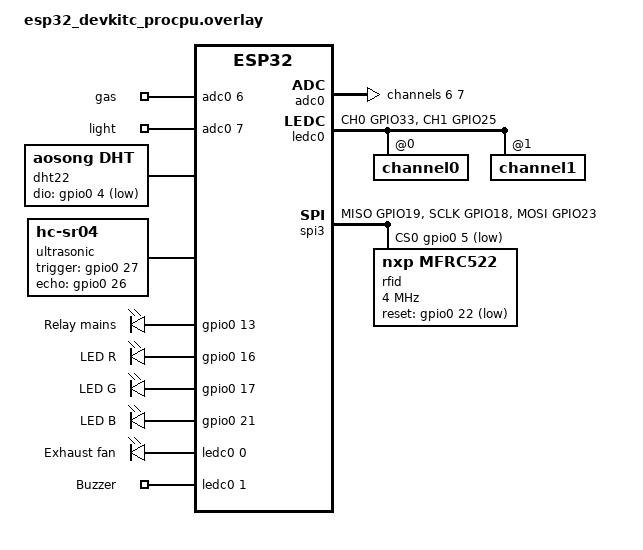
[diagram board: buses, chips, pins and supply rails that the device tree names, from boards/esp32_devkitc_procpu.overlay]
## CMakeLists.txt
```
# SPDX-License-Identifier: Apache-2.0
cmake_minimum_required(VERSION 3.20.0)

find_package(Zephyr REQUIRED HINTS $ENV{ZEPHYR_BASE})
project(fire_guard_rt)

zephyr_include_directories(src)

target_sources(app PRIVATE
  src/main.c
  src/app/channels.c
  src/app/config.c
  src/app/threads.c
  src/app/shell_cmds.c
  src/fusion/fusion.c
  src/fusion/fusion_thread.c
  src/sensors/sensor_adc.c
  src/sensors/sensor_dht.c
  src/sensors/sensor_ultrasonic.c
  src/sensors/sensor_rfid.c
  src/drivers/rc522.c
  src/actuators/actuators.c
  src/safety/fault_mgr.c
  src/safety/event_log.c
)

target_sources_ifdef(CONFIG_FG_PERSIST app PRIVATE
  src/app/storage.c
)

target_sources_ifdef(CONFIG_FG_RT_STATS app PRIVATE
  src/safety/rt_stats.c
)

target_sources_ifdef(CONFIG_FG_TRACE app PRIVATE
  src/safety/rt_trace.c
)

target_sources_ifdef(CONFIG_FG_BENCH app PRIVATE
  src/app/bench.c
)

target_sources_ifdef(CONFIG_FG_DIAG_STATS app PRIVATE
  src/app/diag.c
)

target_sources_ifdef(CONFIG_FG_COMM app PRIVATE
  src/comm/coreiot.c
)

# Wokwi loads build/flasher_args.json (same format as ESP-IDF). Zephyr on
# ESP32 uses simple boot: the application image itself sits at 0x1000 and
# is started by the ROM loader, so no second-stage bootloader is listed.
file(WRITE ${CMAKE_BINARY_DIR}/flasher_args.json
"{
  \"write_flash_args\": [\"--flash_mode\", \"dio\", \"--flash_size\", \"4MB\", \"--flash_freq\", \"40m\"],
  \"flash_settings\": {\"flash_mode\": \"dio\", \"flash_size\": \"4MB\", \"flash_freq\": \"40m\"},
  \"flash_files\": {\"0x1000\": \"zephyr/zephyr.bin\"},
  \"extra_esptool_args\": {\"after\": \"hard_reset\", \"before\": \"default_reset\", \"stub\": true, \"chip\": \"esp32\"}
}
")
```

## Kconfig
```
# FireGuard-RT application configuration

mainmenu "FireGuard-RT"

menu "FireGuard-RT"

config FG_SAMPLE_PERIOD_MS
	int "Default sample period (ms)"
	range 1000 2000
	default 1000

config FG_CALLIN_PERIOD_S
	int "Default call-in period in NORMAL state (s)"
	range 10 600
	default 60

config FG_WARMUP_S
	int "MQ-2 warm-up time (s)"
	default 60

config FG_CONFIRM_WINDOW_MS
	int "Multi-source confirmation window (ms)"
	default 4000

config FG_SENSOR_WDT_MS
	int "Task watchdog timeout for sensor threads (ms)"
	default 500

config FG_CORE_WDT_MS
	int "Task watchdog timeout for fusion/actuator threads (ms)"
	default 1000

config FG_FAULT_RESTART_MAX
	int "Max restart attempts for a hung sensor thread"
	default 3

config FG_LDR_INVERT
	bool "Invert LDR reading (higher voltage = darker)"
	help
	  Set when the LDR is on the high side of the divider.

config FG_BUZZER_ACTIVE
	bool "Buzzer has its own oscillator (active buzzer)"
	help
	  Drive the buzzer with a DC level instead of a 2.7 kHz tone.

config FG_COMMANDER_UIDS
	string "Commander card UIDs (comma separated hex, 4-byte)"
	default "DEADBEEF,11223344"

config FG_PERSIST
	bool "Keep configuration and event log in flash"
	default y
	select FLASH
	select FLASH_MAP
	select NVS
	select SETTINGS
	help
	  Uses the settings subsystem on NVS in the storage partition.

config FG_RT_STATS
	bool "Measure execution and response times of the safety threads"
	default y
	select THREAD_RUNTIME_STATS
	select SCHED_THREAD_USAGE
	help
	  Adds the "fg rt" and "fg rta" shell commands.

config FG_TRACE
	bool "Capture a scheduler timeline through the tracing user hooks"
	depends on TRACING_USER
	help
	  Adds "fg trace start|stop|dump". Enable CONFIG_TRACING and
	  CONFIG_TRACING_USER as well.

config FG_TRACE_EVENTS
	int "Trace buffer size (events)"
	depends on FG_TRACE
	default 2048

config FG_BENCH
	bool "Load generators and automated alarm benchmark"
	help
	  Adds "fg load cpu|net" and "fg bench".

config FG_DIAG_STATS
	bool "Thread usage and data flow diagnostics"
	select THREAD_RUNTIME_STATS
	select SCHED_THREAD_USAGE
	select THREAD_MONITOR

config FG_DIAG_PERIOD_MS
	int "Periodic diagnostics report period (ms), 0 = on demand only"
	depends on FG_DIAG_STATS
	default 0

config FG_COMM
	bool "Enable Wi-Fi + MQTT (CoreIoT) communication"
	help
	  Requires the hal_espressif blobs and a single-core (non-SMP) build.

if FG_COMM

config FG_WIFI_SSID
	string "Wi-Fi SSID"
	default "Wokwi-GUEST"

config FG_WIFI_PSK
	string "Wi-Fi password"
	default ""

config FG_COREIOT_HOST
	string "CoreIoT MQTT host"
	default "app.coreiot.io"

config FG_COREIOT_PORT
	int "CoreIoT MQTT port"
	default 1883

config FG_COREIOT_TOKEN
	string "CoreIoT device access token"
	default ""

endif # FG_COMM

endmenu

source "Kconfig.zephyr"
```

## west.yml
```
# West manifest for building FireGuard-RT standalone (used by CI).
# Inside an existing Zephyr v4.4.0 workspace this file is not needed.
manifest:
  remotes:
    - name: zephyrproject-rtos
      url-base: https://github.com/zephyrproject-rtos

  projects:
    - name: zephyr
      remote: zephyrproject-rtos
      revision: v4.4.0
      import:
        name-allowlist:
          - hal_espressif
          - hal_xtensa
          - mbedtls
          - tf-psa-crypto
          - hostap
          - cmsis_6

  self:
    path: fire_guard_rt
```

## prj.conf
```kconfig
# Kernel
CONFIG_MAIN_STACK_SIZE=2048
CONFIG_THREAD_NAME=y
CONFIG_THREAD_STACK_INFO=y
CONFIG_THREAD_MONITOR=y
CONFIG_HEAP_MEM_POOL_SIZE=8192
CONFIG_REBOOT=y
CONFIG_HWINFO=y

# Data channels
CONFIG_ZBUS=y
CONFIG_ZBUS_CHANNEL_NAME=y
CONFIG_ZBUS_OBSERVER_NAME=y

# Peripherals
CONFIG_GPIO=y
CONFIG_ADC=y
CONFIG_SPI=y
CONFIG_PWM=y
CONFIG_SENSOR=y
CONFIG_DHT=y
CONFIG_HC_SR04=y
CONFIG_LED=n

# Fault tolerance
CONFIG_WATCHDOG=y
CONFIG_TASK_WDT=y
CONFIG_TASK_WDT_CHANNELS=8
CONFIG_TASK_WDT_HW_FALLBACK=y
CONFIG_TASK_WDT_HW_FALLBACK_DELAY=200

# Diagnostics
CONFIG_LOG=y
CONFIG_LOG_MODE_DEFERRED=y
CONFIG_LOG_DEFAULT_LEVEL=3
CONFIG_SHELL=y
CONFIG_SHELL_STACK_SIZE=3072
# printk writes the same UART with poll_out; an interrupt-driven shell
# backend then loses its TX-done event and stops processing input
CONFIG_SHELL_BACKEND_SERIAL_API_POLLING=y
CONFIG_ASSERT=y
```

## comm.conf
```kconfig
# Kconfig fragment: Wi-Fi + MQTT (CoreIoT)
#   west build ... -- "-DEXTRA_CONF_FILE=comm.conf;secrets.conf"
# Requires: west blobs fetch hal_espressif ; single-core build (no SMP)

CONFIG_FG_COMM=y

# Networking
CONFIG_NETWORKING=y
CONFIG_NET_IPV4=y
CONFIG_NET_IPV6=n
CONFIG_NET_TCP=y
CONFIG_NET_DHCPV4=y
CONFIG_NET_SOCKETS=y
CONFIG_DNS_RESOLVER=y
CONFIG_NET_MGMT=y
CONFIG_NET_MGMT_EVENT=y
CONFIG_NET_MGMT_EVENT_QUEUE_SIZE=16
CONFIG_NET_PKT_RX_COUNT=16
CONFIG_NET_PKT_TX_COUNT=16
CONFIG_NET_BUF_RX_COUNT=32
CONFIG_NET_BUF_TX_COUNT=32
CONFIG_NET_MAX_CONTEXTS=6
CONFIG_NET_TX_STACK_SIZE=2048
CONFIG_NET_RX_STACK_SIZE=2048
CONFIG_WIFI=y
CONFIG_ENTROPY_GENERATOR=y

# Network stack threads must be preemptible by the safety chain (NFR-02)
CONFIG_NET_TC_THREAD_PREEMPTIVE=y
# Wi-Fi driver threads are created at "max priority" with FreeRTOS semantics;
# keep them below every safety thread (Zephyr: higher number = lower priority)
CONFIG_ESP32_WIFI_MAX_THREAD_PRIORITY=12

# MQTT
CONFIG_MQTT_LIB=y
CONFIG_MQTT_KEEPALIVE=60

# Wi-Fi driver, MQTT and DNS need about 55 KB of system heap
CONFIG_HEAP_MEM_POOL_SIZE=57344
```

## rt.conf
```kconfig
# Kconfig fragment for real-time measurements on hardware
#   west build -b esp32_devkitc/esp32/procpu -- "-DEXTRA_CONF_FILE=rt.conf"
# Combine with comm.conf;secrets.conf to measure under network load.

CONFIG_TRACING=y
CONFIG_TRACING_USER=y
CONFIG_FG_TRACE=y
CONFIG_FG_BENCH=y
CONFIG_FG_DIAG_STATS=y
```

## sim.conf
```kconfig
# Kconfig fragment for the Wokwi simulation build
#   west build -b esp32_devkitc/esp32/procpu -- "-DEXTRA_CONF_FILE=sim.conf"

# Wokwi photoresistor module: AO voltage rises when it gets darker
CONFIG_FG_LDR_INVERT=y

# Shorter MQ-2 warm-up so tests start quickly
CONFIG_FG_WARMUP_S=5

# Minimal logging maps LOG_* straight to printk and printk straight to the
# UART, so boot messages and fatal error dumps are printed even when the
# system halts before the log backends are initialised
CONFIG_LOG_MODE_MINIMAL=y
CONFIG_LOG_MODE_DEFERRED=n
CONFIG_LOG_PRINTK=n

# Detect thread stack overflows on context switch
CONFIG_STACK_SENTINEL=y

# Thread CPU usage and data flow report ("fg threads")
CONFIG_FG_DIAG_STATS=y

# Real-time analysis tools: timeline capture, load generators, benchmark
CONFIG_TRACING=y
CONFIG_TRACING_USER=y
CONFIG_FG_TRACE=y
CONFIG_FG_BENCH=y
```

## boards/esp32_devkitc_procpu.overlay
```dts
/*
 * Devicetree overlay for ESP32 NodeMCU (30 pin) / esp32_devkitc
 *
 *  GPIO34 ADC1_CH6  MQ-2 AO (through 5V->3.3V divider)
 *  GPIO35 ADC1_CH7  LDR divider
 *  GPIO4            DHT22 data
 *  GPIO27 / GPIO26  HC-SR04 TRIG / ECHO (ECHO through divider)
 *  GPIO18/19/23/5   RC522 SCK / MISO / MOSI / SDA(CS)   GPIO22 RC522 RST
 *  GPIO13           Relay IN
 *  GPIO33           Fan (MOSFET gate), LEDC channel 0
 *  GPIO25           Buzzer, LEDC channel 1
 *  GPIO16/17/21     LED RGB R / G / B
 */
#include <zephyr/dt-bindings/adc/adc.h>
#include <zephyr/dt-bindings/gpio/gpio.h>
#include <zephyr/dt-bindings/pwm/pwm.h>

/ {
	chosen {
		zephyr,settings-partition = &storage_partition;
	};

	zephyr,user {
		io-channels = <&adc0 6>, <&adc0 7>;
		io-channel-names = "gas", "light";
	};

	dht22: dht22 {
		compatible = "aosong,dht";
		status = "okay";
		/* The aosong,dht driver drives the line in active-low logic */
		dio-gpios = <&gpio0 4 (GPIO_ACTIVE_LOW | GPIO_PULL_UP)>;
		dht22;
	};

	ultrasonic: hc_sr04 {
		compatible = "hc-sr04";
		status = "okay";
		trigger-gpios = <&gpio0 27 GPIO_ACTIVE_HIGH>;
		echo-gpios = <&gpio0 26 GPIO_ACTIVE_HIGH>;
	};

	fg_outputs {
		compatible = "gpio-leds";
		/* Real relay modules are often active-low: change flag if needed */
		relay: relay { gpios = <&gpio0 13 GPIO_ACTIVE_HIGH>; label = "Relay mains"; };
		led_r: led_r { gpios = <&gpio0 16 GPIO_ACTIVE_HIGH>; label = "LED R"; };
		led_g: led_g { gpios = <&gpio0 17 GPIO_ACTIVE_HIGH>; label = "LED G"; };
		led_b: led_b { gpios = <&gpio0 21 GPIO_ACTIVE_HIGH>; label = "LED B"; };
	};

	/* LEDC: fan at 25 kHz (above audible range), buzzer tone at 2.7 kHz */
	fg_pwm_outputs {
		compatible = "pwm-leds";
		fan: fan { pwms = <&ledc0 0 PWM_USEC(40) PWM_POLARITY_NORMAL>; label = "Exhaust fan"; };
		buzzer: buzzer { pwms = <&ledc0 1 PWM_USEC(370) PWM_POLARITY_NORMAL>; label = "Buzzer"; };
	};

	aliases {
		fg-relay = &relay;
		fg-fan = &fan;
		fg-buzzer = &buzzer;
		fg-led-r = &led_r;
		fg-led-g = &led_g;
		fg-led-b = &led_b;
		fg-dht = &dht22;
		fg-ultrasonic = &ultrasonic;
		fg-rfid = &rfid;
	};
};

&adc0 {
	status = "okay";
	#address-cells = <1>;
	#size-cells = <0>;

	channel@6 {
		reg = <6>;
		zephyr,gain = "ADC_GAIN_1_4";
		zephyr,reference = "ADC_REF_INTERNAL";
		zephyr,acquisition-time = <ADC_ACQ_TIME_DEFAULT>;
		zephyr,resolution = <12>;
	};

	channel@7 {
		reg = <7>;
		zephyr,gain = "ADC_GAIN_1_4";
		zephyr,reference = "ADC_REF_INTERNAL";
		zephyr,acquisition-time = <ADC_ACQ_TIME_DEFAULT>;
		zephyr,resolution = <12>;
	};
};

/*
 * The board file describes an ESP32-WROVER-E, which reserves GPIO16/17 for
 * PSRAM. The target module (NodeMCU, ESP32-WROOM-32) has no PSRAM, so only
 * the SPI flash pins stay reserved and GPIO16/17 drive the RGB LED.
 */
&gpio0 {
	gpio-reserved-ranges = <6 6>;
};

&psram0 {
	status = "disabled";
};

/* GPIO21/22 are used by RGB-B and RC522-RST */
&i2c0 {
	status = "disabled";
};

/* HSPI default pins overlap GPIO13 (relay) */
&spi2 {
	status = "disabled";
};

/* VSPI without hardware CS: GPIO5 is driven as a GPIO chip-select */
&pinctrl {
	spim3_fg: spim3_fg {
		group1 {
			pinmux = <SPIM3_MISO_GPIO19>,
				 <SPIM3_SCLK_GPIO18>;
		};
		group2 {
			pinmux = <SPIM3_MOSI_GPIO23>;
			output-low;
		};
	};
};

&pinctrl {
	ledc0_fg: ledc0_fg {
		group1 {
			pinmux = <LEDC_CH0_GPIO33>,
				 <LEDC_CH1_GPIO25>;
			output-enable;
		};
	};
};

&ledc0 {
	pinctrl-0 = <&ledc0_fg>;
	pinctrl-names = "default";
	status = "okay";
	#address-cells = <1>;
	#size-cells = <0>;

	channel0@0 {
		reg = <0x0>;
		timer = <0>;
	};

	channel1@1 {
		reg = <0x1>;
		timer = <1>;
	};
};

&spi3 {
	pinctrl-0 = <&spim3_fg>;
	pinctrl-names = "default";
	cs-gpios = <&gpio0 5 GPIO_ACTIVE_LOW>;

	rfid: rc522@0 {
		compatible = "nxp,mfrc522";
		reg = <0>;
		spi-max-frequency = <4000000>;
		reset-gpios = <&gpio0 22 GPIO_ACTIVE_LOW>;
	};
};
```

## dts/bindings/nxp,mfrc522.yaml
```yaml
description: NXP MFRC522 13.56 MHz RFID reader (minimal FireGuard-RT driver)

compatible: "nxp,mfrc522"

include: spi-device.yaml

properties:
  reset-gpios:
    type: phandle-array
    description: NRSTPD pin (active low reset / power-down)
```

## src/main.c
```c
/*
 * Entry point
 *
 * Boot order: actuators to a safe state -> task watchdog (+HW fallback)
 * -> start the thread table. main() then returns; all work is in threads.
 */
#include <zephyr/kernel.h>
#include <zephyr/drivers/hwinfo.h>
#include <zephyr/logging/log.h>
#include "app/storage.h"
#include "app/threads.h"
#include "actuators/actuators.h"
#include "safety/event_log.h"
#include "safety/fault_mgr.h"

LOG_MODULE_REGISTER(fg_main, LOG_LEVEL_INF);

#define FG_VERSION "0.1.0"

int main(void)
{
	uint32_t cause = 0;
	int err;

	err = fg_act_init();
	if (err) {
		LOG_ERR("actuator init failed: %d", err);
	}

	(void)hwinfo_get_reset_cause(&cause);
	(void)hwinfo_clear_reset_cause();
	LOG_INF("FireGuard-RT v%s, reset cause 0x%08x%s", FG_VERSION, cause,
		(cause & RESET_WATCHDOG) ? " (WATCHDOG)" : "");

	/* Restores configuration and event history before anything is logged */
	err = fg_storage_init();
	if (err) {
		LOG_ERR("storage unavailable (%d), running from defaults", err);
	}
	fg_event_log_add(FG_EV_BOOT, (cause & RESET_WATCHDOG) ? 1 : 0, 0, NULL);

	err = fg_wdt_init();
	if (err) {
		LOG_ERR("task_wdt init failed: %d", err);
	}

	fg_threads_start();
	return 0;
}
```
